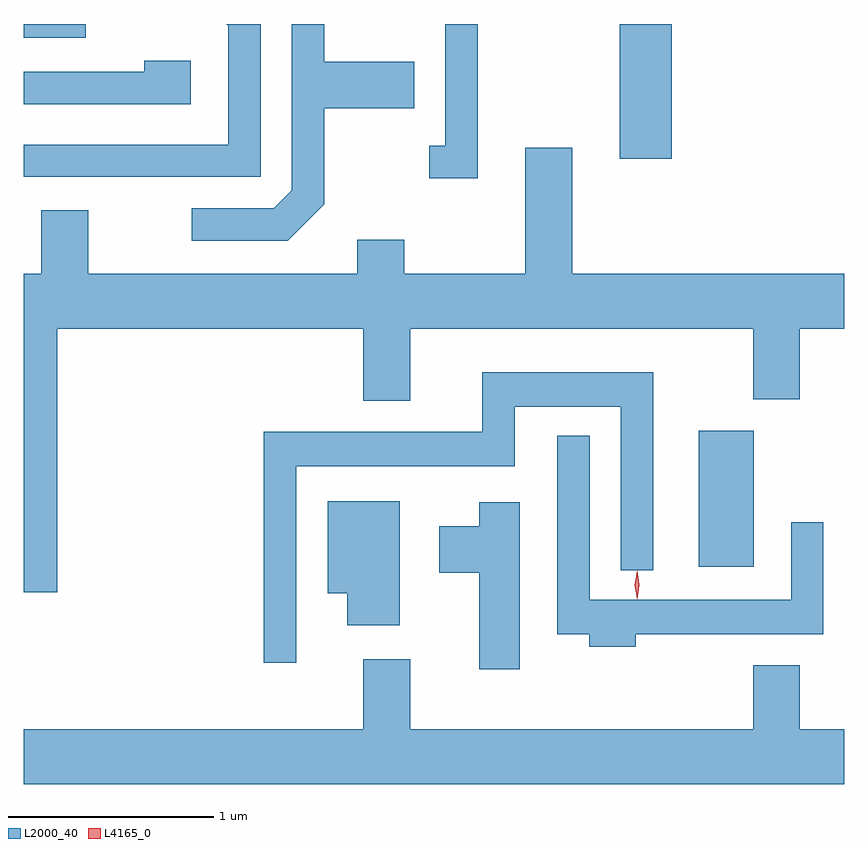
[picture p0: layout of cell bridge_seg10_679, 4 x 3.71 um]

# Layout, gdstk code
import gdstk
lib = gdstk.Library(unit=1e-6, precision=1e-09)
def R(c, l, rs):  # rectangles x0, y0, x1, y1
    for r in rs: c.add(gdstk.rectangle(r[:2], r[2:], *l))
def P(c, l, *ps):  # polygons
    for p in ps: c.add(gdstk.Polygon(p, *l))
L2000_40 = (2000, 40)
L4165_0 = (4165, 0)

bridge_seg10_679 = lib.new_cell('bridge_seg10_679')
R(bridge_seg10_679, L2000_40, [(1032.586,2094.996,1032.854,2095.659), (1032.201,2096.986,1032.454,2097.642), (1029.295,2097.576,1029.598,2097.642)])
P(bridge_seg10_679, L2000_40, [(1030.449,2097.642),(1030.283,2097.642),(1030.291,2097.634),(1030.291,2097.054),(1029.295,2097.054),(1029.295,2096.896),(1030.449,2096.896)],
  [(1031.509,2097.642),(1031.351,2097.642),(1031.351,2097.049),(1031.273,2097.049),(1031.273,2096.891),(1031.509,2096.891)],
  [(1030.759,2096.764),(1030.759,2097.231),(1031.199,2097.231),(1031.199,2097.459),(1030.759,2097.459),(1030.759,2097.642),(1030.601,2097.642),(1030.601,2096.832),(1030.514,2096.744),(1030.113,2096.744),(1030.113,2096.586),(1030.582,2096.586)],
  [(1030.109,2097.464),(1029.881,2097.464),(1029.881,2097.409),(1029.295,2097.409),(1029.295,2097.251),(1030.109,2097.251)],
  [(1029.459,2096.156),(1030.951,2096.156),(1030.951,2095.806),(1031.179,2095.806),(1031.179,2096.156),(1032.851,2096.156),(1032.851,2095.811),(1033.079,2095.811),(1033.079,2096.156),(1033.295,2096.156),(1033.295,2096.424),(1031.969,2096.424),(1031.969,2097.039),(1031.741,2097.039),(1031.741,2096.424),(1031.149,2096.424),(1031.149,2096.589),(1030.921,2096.589),(1030.921,2096.424),(1029.609,2096.424),(1029.609,2096.734),(1029.381,2096.734),(1029.381,2096.424),(1029.295,2096.424),(1029.295,2094.871),(1029.459,2094.871)],
  [(1030.624,2095.486),(1031.689,2095.486),(1031.689,2095.776),(1032.206,2095.776),(1032.206,2094.978),(1032.364,2094.978),(1032.364,2095.944),(1031.531,2095.944),(1031.531,2095.654),(1030.466,2095.654),(1030.466,2094.528),(1030.624,2094.528)],
  [(1032.279,2094.666),(1033.194,2094.666),(1033.194,2095.213),(1033.036,2095.213),(1033.036,2094.834),(1032.054,2094.834),(1032.054,2095.633),(1031.896,2095.633),(1031.896,2094.666),(1032.051,2094.666),(1032.051,2094.606),(1032.279,2094.606)],
  [(1031.129,2095.314),(1030.776,2095.314),(1030.776,2094.866),(1030.871,2094.866),(1030.871,2094.711),(1031.129,2094.711)],
  [(1031.714,2095.309),(1031.516,2095.309),(1031.516,2095.194),(1031.321,2095.194),(1031.321,2094.966),(1031.516,2094.966),(1031.516,2094.496),(1031.714,2094.496)],
  [(1033.295,2094.204),(1033.079,2094.204),(1033.079,2094.514),(1032.851,2094.514),(1032.851,2094.204),(1031.179,2094.204),(1031.179,2094.544),(1030.951,2094.544),(1030.951,2094.204),(1029.295,2094.204),(1029.295,2093.936),(1033.295,2093.936)])
P(bridge_seg10_679, L4165_0, [(1032.285,2094.837),(1032.285,2094.837),(1032.275,2094.907),(1032.285,2094.976),(1032.285,2094.976),(1032.286,2094.976),(1032.295,2094.907),(1032.286,2094.837)],
  [(1032.285,2094.839),(1032.285,2094.84),(1032.275,2094.906),(1032.285,2094.972),(1032.285,2094.973),(1032.286,2094.972),(1032.295,2094.906),(1032.286,2094.84)])

lib.write_gds('bridge_seg10_679.gds')
